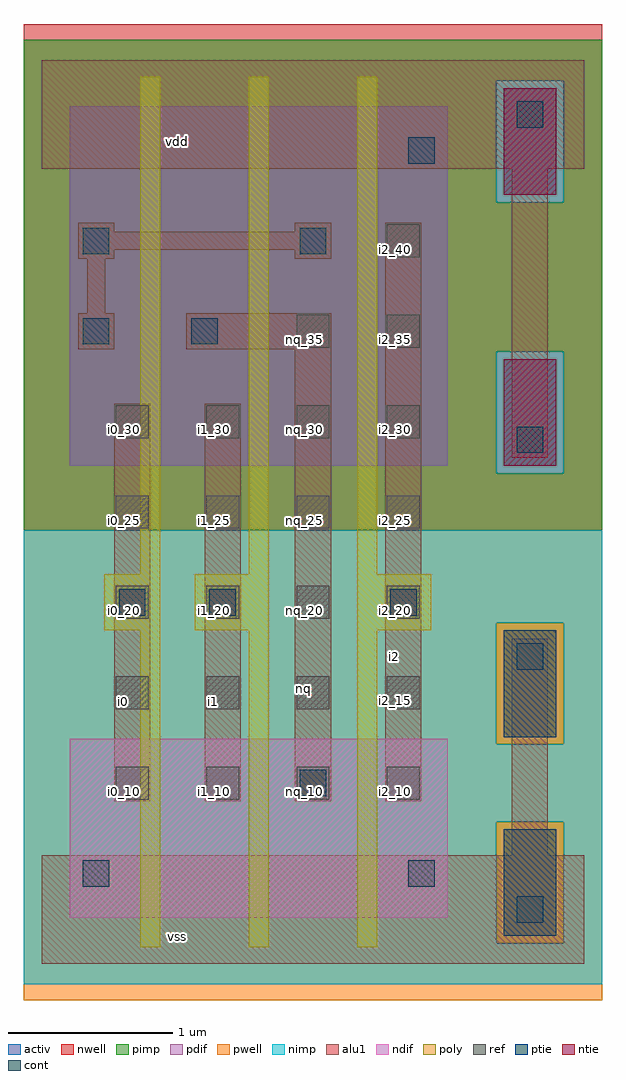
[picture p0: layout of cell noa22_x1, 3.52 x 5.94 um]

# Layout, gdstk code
import gdstk
lib = gdstk.Library(unit=1e-6, precision=2.5e-09)
def R(c, l, rs):  # rectangles x0, y0, x1, y1
    for r in rs: c.add(gdstk.rectangle(r[:2], r[2:], *l))
def A(c, l, x, y, w, h, nx, ny, dx, dy):  # array of equal rectangles
    R(c, l, [(x+i*dx, y+j*dy, x+i*dx+w, y+j*dy+h) for i in range(nx) for j in range(ny)])
ndif = (3, 0)
pdif = (4, 0)
ntie = (5, 0)
ptie = (6, 0)
ref = (24, 0)
cont = (25, 0)
pwell = (41, 0)
nwell = (42, 0)
activ = (43, 0)
pimp = (44, 0)
nimp = (45, 0)
poly = (46, 0)
alu1 = (49, 0)

noa22_x1 = lib.new_cell('noa22_x1')
R(noa22_x1, ndif, [(0.17,0.28,2.47,1.37), (0.17,0.28,2.47,1.37)])
R(noa22_x1, pdif, [(0.17,3.03,2.47,5.22), (0.17,3.03,2.47,5.22)])
R(noa22_x1, ntie, [(2.81,3.03,3.13,3.68), (2.81,3.03,3.13,3.68), (2.81,4.68,3.13,5.33), (2.81,4.68,3.13,5.33)])
R(noa22_x1, ptie, [(2.81,0.17,3.13,0.82), (2.81,0.17,3.13,0.82), (2.81,1.38,3.13,2.03), (2.81,1.38,3.13,2.03)])
A(noa22_x1, ref, 0.45, 1, 0.2, 0.2, 4, 5, 0.55, 0.55)
R(noa22_x1, ref, [(1.55,3.75,1.75,3.95), (2.1,3.75,2.3,3.95), (2.1,4.3,2.3,4.5)])
R(noa22_x1, cont, [(2.89,0.25,3.05,0.41), (0.25,0.47,0.41,0.63), (2.23,0.47,2.39,0.63), (1.57,1.02,1.73,1.18), (2.89,1.79,3.05,1.95), (0.47,2.12,0.63,2.28), (1.02,2.12,1.18,2.28), (2.12,2.12,2.28,2.28), (2.89,3.11,3.05,3.27), (0.25,3.77,0.41,3.93), (0.91,3.77,1.07,3.93), (0.25,4.32,0.41,4.48), (1.57,4.32,1.73,4.48), (2.23,4.87,2.39,5.03), (2.89,5.09,3.05,5.25)])
R(noa22_x1, pwell, [(-0.11,-0.22,3.41,2.64)])
R(noa22_x1, nwell, [(-0.11,2.64,3.41,5.72)])
R(noa22_x1, activ, [(2.81,0.17,3.13,0.82), (2.81,0.17,3.13,0.82), (0.17,0.28,2.47,1.37), (0.17,0.28,2.47,1.37), (2.81,1.38,3.13,2.03), (2.81,1.38,3.13,2.03), (0.17,3.03,2.47,5.22), (0.17,3.03,2.47,5.22), (2.81,3.03,3.13,3.68), (2.81,3.03,3.13,3.68), (2.81,4.68,3.13,5.33), (2.81,4.68,3.13,5.33)])
R(noa22_x1, pimp, [(2.765,0.125,3.175,0.865), (2.765,1.335,3.175,2.075), (-0.11,2.64,3.41,2.985), (-0.11,2.985,2.765,3.725), (3.175,2.985,3.41,3.725), (-0.11,3.725,3.41,4.635), (-0.11,4.635,2.765,5.375), (3.175,4.635,3.41,5.375), (-0.11,5.375,3.41,5.625)])
R(noa22_x1, nimp, [(-0.11,-0.125,3.41,0.125), (-0.11,0.125,2.765,0.865), (3.175,0.125,3.41,0.865), (-0.11,0.865,3.41,1.335), (-0.11,1.335,2.765,2.075), (3.175,1.335,3.41,2.075), (-0.11,2.075,3.41,2.64), (2.765,2.985,3.175,3.725), (2.765,4.635,3.175,5.375)])
A(noa22_x1, poly, 0.6, 0.1, 0.12, 1.93, 3, 1, 0.66, 0)
A(noa22_x1, poly, 0.6, 2.37, 0.12, 3.03, 3, 1, 0.66, 0)
R(noa22_x1, poly, [(0.38,2.03,0.72,2.37), (0.93,2.03,1.38,2.37), (1.92,2.03,2.37,2.37)])
R(noa22_x1, alu1, [(0,0,3.3,0.66), (2.86,0.66,3.08,1.98), (0.44,0.99,0.66,3.41), (0.99,0.99,1.21,3.41), (1.54,0.99,1.76,3.74), (2.09,0.99,2.31,4.51), (2.86,3.08,3.08,4.84), (0.22,3.74,0.44,3.96), (0.88,3.74,1.76,3.96), (0.275,3.96,0.385,4.29), (0.22,4.29,0.44,4.345), (1.54,4.29,1.76,4.345), (0.22,4.345,1.76,4.455), (0.22,4.455,0.44,4.51), (1.54,4.455,1.76,4.51), (0,4.84,3.3,5.5)])
noa22_x1.add(gdstk.Label('vss', (0.825,0.165), layer=49, texttype=0))
noa22_x1.add(gdstk.Label('i2', (2.145,1.87), layer=49, texttype=0))
noa22_x1.add(gdstk.Label('nq', (1.595,1.6775), layer=49, texttype=0))
noa22_x1.add(gdstk.Label('i1', (1.045,1.595), layer=49, texttype=0))
noa22_x1.add(gdstk.Label('i0', (0.495,1.595), layer=49, texttype=0))
noa22_x1.add(gdstk.Label('vdd', (0.825,5.005), layer=49, texttype=0))
noa22_x1.add(gdstk.Label('i2_40', (2.15,4.35), layer=24, texttype=0))
noa22_x1.add(gdstk.Label('i0_10', (0.5,1.05), layer=24, texttype=0))
noa22_x1.add(gdstk.Label('i0_15', (0.5,1.6), layer=24, texttype=0))
noa22_x1.add(gdstk.Label('i0_20', (0.5,2.15), layer=24, texttype=0))
noa22_x1.add(gdstk.Label('i0_25', (0.5,2.7), layer=24, texttype=0))
noa22_x1.add(gdstk.Label('i0_30', (0.5,3.25), layer=24, texttype=0))
noa22_x1.add(gdstk.Label('i1_30', (1.05,3.25), layer=24, texttype=0))
noa22_x1.add(gdstk.Label('i1_25', (1.05,2.7), layer=24, texttype=0))
noa22_x1.add(gdstk.Label('i1_20', (1.05,2.15), layer=24, texttype=0))
noa22_x1.add(gdstk.Label('i1_15', (1.05,1.6), layer=24, texttype=0))
noa22_x1.add(gdstk.Label('i1_10', (1.05,1.05), layer=24, texttype=0))
noa22_x1.add(gdstk.Label('i2_10', (2.15,1.05), layer=24, texttype=0))
noa22_x1.add(gdstk.Label('i2_15', (2.15,1.6), layer=24, texttype=0))
noa22_x1.add(gdstk.Label('i2_20', (2.15,2.15), layer=24, texttype=0))
noa22_x1.add(gdstk.Label('i2_25', (2.15,2.7), layer=24, texttype=0))
noa22_x1.add(gdstk.Label('i2_30', (2.15,3.25), layer=24, texttype=0))
noa22_x1.add(gdstk.Label('i2_35', (2.15,3.8), layer=24, texttype=0))
noa22_x1.add(gdstk.Label('nq_10', (1.6,1.05), layer=24, texttype=0))
noa22_x1.add(gdstk.Label('nq_15', (1.6,1.6), layer=24, texttype=0))
noa22_x1.add(gdstk.Label('nq_20', (1.6,2.15), layer=24, texttype=0))
noa22_x1.add(gdstk.Label('nq_25', (1.6,2.7), layer=24, texttype=0))
noa22_x1.add(gdstk.Label('nq_30', (1.6,3.25), layer=24, texttype=0))
noa22_x1.add(gdstk.Label('nq_35', (1.6,3.8), layer=24, texttype=0))

lib.write_gds('noa22_x1.gds')
